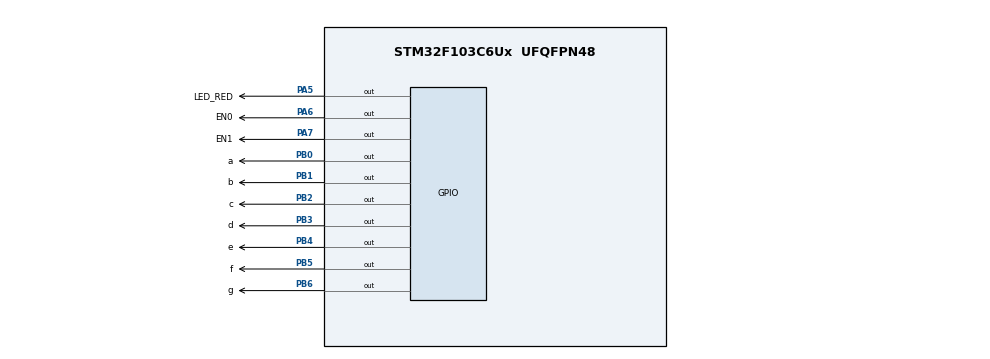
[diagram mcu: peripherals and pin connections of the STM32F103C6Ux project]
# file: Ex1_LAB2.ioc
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Mcu.Family=STM32F1
Mcu.Name=STM32F103C6Ux
Mcu.Package=UFQFPN48
NVIC.PriorityGroup=NVIC_PRIORITYGROUP_4
NVIC.TIM2_IRQn=true\:0\:0\:false\:false\:true\:true\:true
PA5.GPIO_Label=LED_RED
PA5.Signal=GPIO_Output
PA6.GPIO_Label=EN0
PA6.Signal=GPIO_Output
PA7.GPIO_Label=EN1
PA7.Signal=GPIO_Output
PB0.GPIO_Label=a
PB0.Signal=GPIO_Output
PB1.GPIO_Label=b
PB1.Signal=GPIO_Output
PB2.GPIO_Label=c
PB2.Signal=GPIO_Output
PB3.GPIO_Label=d
PB3.Signal=GPIO_Output
PB4.GPIO_Label=e
PB4.Signal=GPIO_Output
PB5.GPIO_Label=f
PB5.Signal=GPIO_Output
PB6.GPIO_Label=g
PB6.Signal=GPIO_Output
ProjectManager.HeapSize=0x200
ProjectManager.StackSize=0x400
ProjectManager.TargetToolchain=STM32CubeIDE
RCC.APB1Freq_Value=8000000
RCC.APB2Freq_Value=8000000
TIM2.Period=9
TIM2.Prescaler=7999
VP_SYS_VS_ND.Mode=No_Debug
VP_TIM2_VS_ClockSourceINT.Mode=Internal
board=custom

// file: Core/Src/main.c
/* USER CODE BEGIN Header */
/**
  ******************************************************************************
  * @file           : main.c
  * @brief          : Main program body
  ******************************************************************************
  * @attention
  *
  * <h2><center>&copy; Copyright (c) 2022 STMicroelectronics.
  * All rights reserved.</center></h2>
  *
  * This software component is licensed by ST under BSD 3-Clause license,
  * the "License"; You may not use this file except in compliance with the
  * License. You may obtain a copy of the License at:
  *                        opensource.org/licenses/BSD-3-Clause
  *
  ******************************************************************************
  */
/* USER CODE END Header */
#include "main.h"

/* USER CODE BEGIN PD */
#define setCounter 50
/* USER CODE END PD */

TIM_HandleTypeDef htim2;

void SystemClock_Config(void);
static void MX_GPIO_Init(void);
static void MX_TIM2_Init(void);

int main(void)
{

  /* MCU Configuration--------------------------------------------------------*/

  /* Reset of all peripherals, Initializes the Flash interface and the Systick. */
  HAL_Init();

  /* Configure the system clock */
  SystemClock_Config();

  /* Initialize all configured peripherals */
  MX_GPIO_Init();
  MX_TIM2_Init();
  /* USER CODE BEGIN 2 */
  HAL_TIM_Base_Start_IT (& htim2 ) ;
  /* USER CODE END 2 */

  /* Infinite loop */
  while (1)
  {

  }
}

void SystemClock_Config(void)
{
  RCC_OscInitTypeDef RCC_OscInitStruct = {0};
  RCC_ClkInitTypeDef RCC_ClkInitStruct = {0};

  /** Initializes the RCC Oscillators according to the specified parameters
  * in the RCC_OscInitTypeDef structure.
  */
  RCC_OscInitStruct.OscillatorType = RCC_OSCILLATORTYPE_HSI;
  RCC_OscInitStruct.HSIState = RCC_HSI_ON;
  RCC_OscInitStruct.HSICalibrationValue = RCC_HSICALIBRATION_DEFAULT;
  RCC_OscInitStruct.PLL.PLLState = RCC_PLL_NONE;
  if (HAL_RCC_OscConfig(&RCC_OscInitStruct) != HAL_OK)
  {
    Error_Handler();
  }
  /** Initializes the CPU, AHB and APB buses clocks
  */
  RCC_ClkInitStruct.ClockType = RCC_CLOCKTYPE_HCLK|RCC_CLOCKTYPE_SYSCLK
                              |RCC_CLOCKTYPE_PCLK1|RCC_CLOCKTYPE_PCLK2;
  RCC_ClkInitStruct.SYSCLKSource = RCC_SYSCLKSOURCE_HSI;
  RCC_ClkInitStruct.AHBCLKDivider = RCC_SYSCLK_DIV1;
  RCC_ClkInitStruct.APB1CLKDivider = RCC_HCLK_DIV1;
  RCC_ClkInitStruct.APB2CLKDivider = RCC_HCLK_DIV1;

  if (HAL_RCC_ClockConfig(&RCC_ClkInitStruct, FLASH_LATENCY_0) != HAL_OK)
  {
    Error_Handler();
  }
}

static void MX_TIM2_Init(void)
{

  TIM_ClockConfigTypeDef sClockSourceConfig = {0};
  TIM_MasterConfigTypeDef sMasterConfig = {0};

  htim2.Instance = TIM2;
  htim2.Init.Prescaler = 7999;
  htim2.Init.CounterMode = TIM_COUNTERMODE_UP;
  htim2.Init.Period = 9;
  htim2.Init.ClockDivision = TIM_CLOCKDIVISION_DIV1;
  htim2.Init.AutoReloadPreload = TIM_AUTORELOAD_PRELOAD_DISABLE;
  if (HAL_TIM_Base_Init(&htim2) != HAL_OK)
  {
    Error_Handler();
  }
  sClockSourceConfig.ClockSource = TIM_CLOCKSOURCE_INTERNAL;
  if (HAL_TIM_ConfigClockSource(&htim2, &sClockSourceConfig) != HAL_OK)
  {
    Error_Handler();
  }
  sMasterConfig.MasterOutputTrigger = TIM_TRGO_RESET;
  sMasterConfig.MasterSlaveMode = TIM_MASTERSLAVEMODE_DISABLE;
  if (HAL_TIMEx_MasterConfigSynchronization(&htim2, &sMasterConfig) != HAL_OK)
  {
    Error_Handler();
  }

}

static void MX_GPIO_Init(void)
{
  GPIO_InitTypeDef GPIO_InitStruct = {0};

  /* GPIO Ports Clock Enable */
  __HAL_RCC_GPIOA_CLK_ENABLE();
  __HAL_RCC_GPIOB_CLK_ENABLE();

  /*Configure GPIO pin Output Level */
  HAL_GPIO_WritePin(GPIOA, LED_RED_Pin|EN0_Pin|EN1_Pin, GPIO_PIN_RESET);

  /*Configure GPIO pin Output Level */
  HAL_GPIO_WritePin(GPIOB, a_Pin|b_Pin|c_Pin|d_Pin
                          |e_Pin|f_Pin|g_Pin, GPIO_PIN_RESET);

  /*Configure GPIO pins : LED_RED_Pin EN0_Pin EN1_Pin */
  GPIO_InitStruct.Pin = LED_RED_Pin|EN0_Pin|EN1_Pin;
  GPIO_InitStruct.Mode = GPIO_MODE_OUTPUT_PP;
  GPIO_InitStruct.Pull = GPIO_NOPULL;
  GPIO_InitStruct.Speed = GPIO_SPEED_FREQ_LOW;
  HAL_GPIO_Init(GPIOA, &GPIO_InitStruct);

  /*Configure GPIO pins : a_Pin b_Pin c_Pin d_Pin
                           e_Pin f_Pin g_Pin */
  GPIO_InitStruct.Pin = a_Pin|b_Pin|c_Pin|d_Pin
                          |e_Pin|f_Pin|g_Pin;
  GPIO_InitStruct.Mode = GPIO_MODE_OUTPUT_PP;
  GPIO_InitStruct.Pull = GPIO_NOPULL;
  GPIO_InitStruct.Speed = GPIO_SPEED_FREQ_LOW;
  HAL_GPIO_Init(GPIOB, &GPIO_InitStruct);

}

/* USER CODE BEGIN 4 */
enum ledState {led1=1, led2=2};
enum ledState status = led1;

//Transfering sequence: gfedcba
// MSB = g; LSB = a -> Active Low
static uint8_t sevenSegTable[10] = {
	  0x40 //0
	, 0x79 //1
	, 0x24 //2
	, 0x30 //3
	, 0x19 //4
	, 0x12 //5
	, 0x02 //6
	, 0x78 //7
	, 0x00 //8
	, 0x10 //9
};

void display7SEG (int num){
	switch (num){
		case led1:
			HAL_GPIO_WritePin(EN0_GPIO_Port, EN0_Pin, RESET);
			HAL_GPIO_WritePin(EN1_GPIO_Port, EN1_Pin, SET);
			break;
		case led2:
			HAL_GPIO_WritePin(EN0_GPIO_Port, EN0_Pin, SET);
			HAL_GPIO_WritePin(EN1_GPIO_Port, EN1_Pin, RESET);
			break;
		default:
			break;
	}
	HAL_GPIO_WritePin(GPIOB, GPIO_PIN_0, ((sevenSegTable[num]>>0)&0x01));
	HAL_GPIO_WritePin(GPIOB, GPIO_PIN_1, ((sevenSegTable[num]>>1)&0x01));
	HAL_GPIO_WritePin(GPIOB, GPIO_PIN_2, ((sevenSegTable[num]>>2)&0x01));
	HAL_GPIO_WritePin(GPIOB, GPIO_PIN_3, ((sevenSegTable[num]>>3)&0x01));
	HAL_GPIO_WritePin(GPIOB, GPIO_PIN_4, ((sevenSegTable[num]>>4)&0x01));
	HAL_GPIO_WritePin(GPIOB, GPIO_PIN_5, ((sevenSegTable[num]>>5)&0x01));
	HAL_GPIO_WritePin(GPIOB, GPIO_PIN_6, ((sevenSegTable[num]>>6)&0x01));
}

static uint16_t counter = setCounter;
void systemRun(void){
	counter--;
	if (counter <=0){
		counter = setCounter;
		HAL_GPIO_TogglePin(LED_RED_GPIO_Port, LED_RED_Pin);
		display7SEG(status);
		if (status == led1) status = led2;
		else status = led1;
	}
}

void HAL_TIM_PeriodElapsedCallback ( TIM_HandleTypeDef * htim )
{
	systemRun();
}
/* USER CODE END 4 */

void Error_Handler(void)
{
  __disable_irq();
  while (1)
  {
  }
}

/************************ (C) COPYRIGHT STMicroelectronics *****END OF FILE****/
